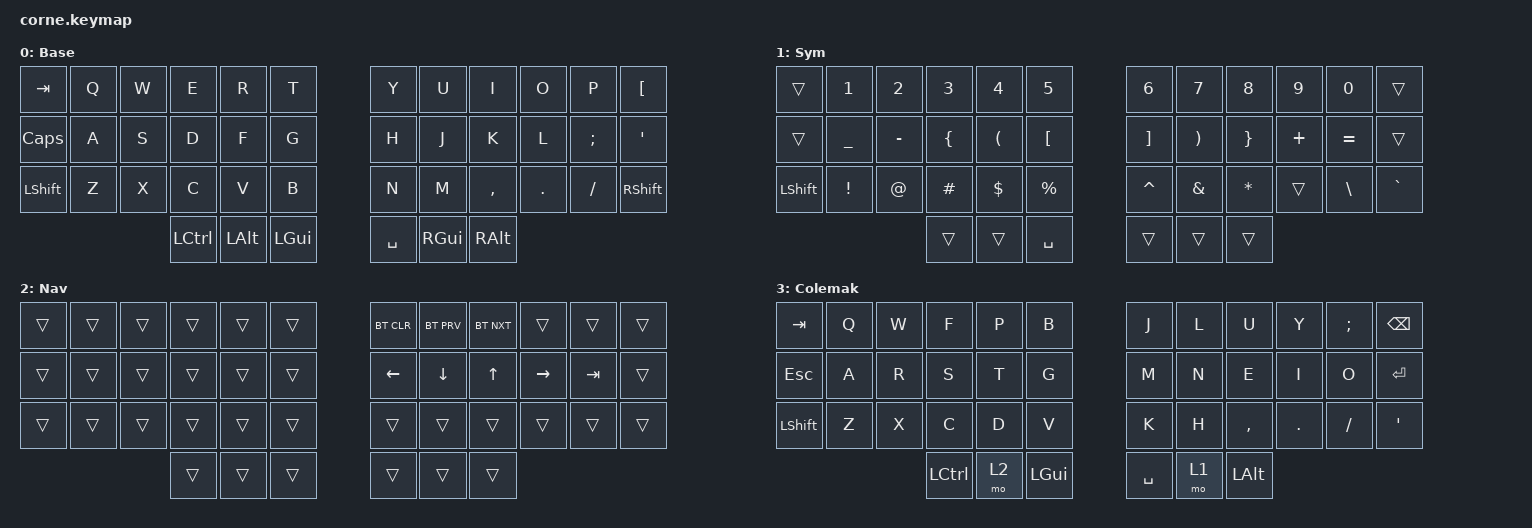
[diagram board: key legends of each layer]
/*
 * Copyright (c) 2020 The ZMK Contributors
 *
 * SPDX-License-Identifier: MIT
 */

#include <behaviors.dtsi>
#include <dt-bindings/zmk/bt.h>
#include <dt-bindings/zmk/keys.h>

/ {
    combos {
        compatible = "zmk,combos";

        change-mode {
            bindings = <&tog 3>;
            key-positions = <1 0>;
        };
    };

    keymap {
        compatible = "zmk,keymap";

        default_layer {
            display-name = "Base";
            bindings = <
&kp TAB    &kp Q  &kp W  &kp E      &kp R     &kp T       &kp Y      &kp U     &kp I      &kp O    &kp P     &kp LBKT
&kp CAPS   &kp A  &kp S  &kp D      &kp F     &kp G       &kp H      &kp J     &kp K      &kp L    &kp SEMI  &kp APOS
&kp LSHFT  &kp Z  &kp X  &kp C      &kp V     &kp B       &kp N      &kp M     &kp COMMA  &kp DOT  &kp FSLH  &kp RSHFT
                         &kp LCTRL  &kp LALT  &kp LGUI    &kp SPACE  &kp RGUI  &kp RALT
            >;
        };

        sym_layer {
            display-name = "Sym";
            bindings = <
&trans     &kp N1           &kp N2     &kp N3          &kp N4                &kp N5              &kp N6             &kp N7                 &kp N8           &kp N9    &kp NUMBER_0   &trans
&trans     &kp UNDER        &kp MINUS  &kp LEFT_BRACE  &kp LEFT_PARENTHESIS  &kp LEFT_BRACKET    &kp RIGHT_BRACKET  &kp RIGHT_PARENTHESIS  &kp RIGHT_BRACE  &kp PLUS  &kp EQUAL      &trans
&kp LSHFT  &kp EXCLAMATION  &kp AT     &kp HASH        &kp DOLLAR            &kp PERCENT         &kp CARET          &kp AMPS               &kp ASTERISK     &trans    &kp BACKSLASH  &kp GRAVE
                                       &trans          &trans                &kp SPACE           &trans             &trans                 &trans
            >;
        };

        nav_layer {
            bindings = <
&trans  &trans  &trans  &trans  &trans  &trans    &bt BT_CLR  &bt BT_PRV  &bt BT_NXT  &trans     &trans   &trans
&trans  &trans  &trans  &trans  &trans  &trans    &kp LEFT    &kp DOWN    &kp UP      &kp RIGHT  &kp TAB  &trans
&trans  &trans  &trans  &trans  &trans  &trans    &trans      &trans      &trans      &trans     &trans   &trans
                        &trans  &trans  &trans    &trans      &trans      &trans
            >;

            label = "Nav";
        };

        colemak {
            display-name = "Colemak";
            bindings = <
&kp TAB    &kp Q  &kp W  &kp F             &kp P  &kp B           &kp J      &kp L  &kp U         &kp Y    &kp SEMI  &kp BSPC
&kp ESC    &kp A  &kp R  &kp S             &kp T  &kp G           &kp M      &kp N  &kp E         &kp I    &kp O     &kp ENTER
&kp LSHFT  &kp Z  &kp X  &kp C             &kp D  &kp V           &kp K      &kp H  &kp COMMA     &kp DOT  &kp FSLH  &kp SQT
                         &kp LEFT_CONTROL  &mo 2  &kp LEFT_GUI    &kp SPACE  &mo 1  &kp LEFT_ALT
            >;
        };
    };

    conditional_layers { compatible = "zmk,conditional-layers"; };
};
